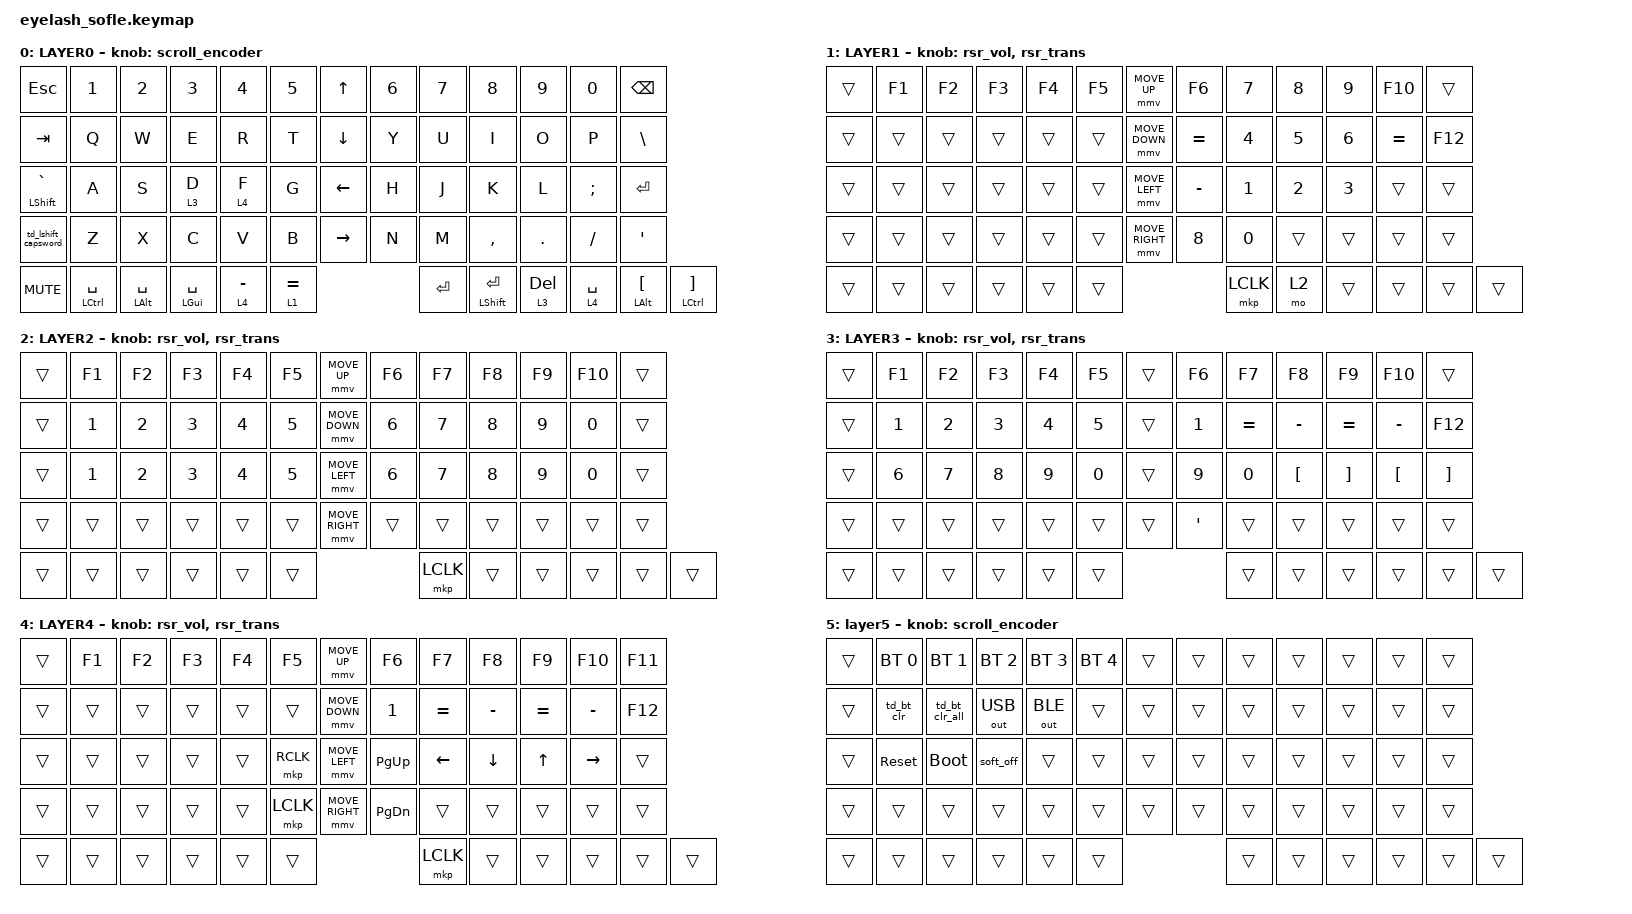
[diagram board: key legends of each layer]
#define ZMK_POINTING_DEFAULT_MOVE_VAL 1200  // 600
#define ZMK_POINTING_DEFAULT_SCRL_VAL 25   // 10

#include <input/processors.dtsi>
#include <zephyr/dt-bindings/input/input-event-codes.h>
#include <behaviors.dtsi>
#include <behaviors/runtime-sensor-rotate.dtsi>
#include <dt-bindings/zmk/bt.h>
#include <dt-bindings/zmk/keys.h>
#include <dt-bindings/zmk/outputs.h>
#include <dt-bindings/zmk/pointing.h>
#include <dt-bindings/zmk/rgb.h>

&mmv_input_listener { input-processors = <&zip_xy_scaler 2 1>; };

&msc_input_listener { input-processors = <&zip_scroll_scaler 2 1>; };

&msc {
    acceleration-exponent = <0>;      // 0
    time-to-max-speed-ms = <100>;       // 300
    delay-ms = <0>;                   // 0
};

&mmv {
    time-to-max-speed-ms = <500>;
    acceleration-exponent = <1>;
    trigger-period-ms = <16>;
};

&soft_off { hold-time-ms = <2000>; };
&sk {
    release-after-ms = <500>;
    quick-release;
    /delete-property/ ignore-modifiers;
};

/ {
    scroll_encoder: scroll_encoder {
        compatible = "zmk,behavior-sensor-rotate";
        #sensor-binding-cells = <0>;
        bindings = <&msc SCRL_DOWN>, <&msc SCRL_UP>;

        tap-ms = <100>;
    };

    behaviors {
        rsr_vol: rsr_vol {
            compatible = "zmk,behavior-runtime-sensor-rotate";
            #sensor-binding-cells = <0>;
            tap-ms = <5>;
            cw-binding = <&kp C_VOL_UP>;
            ccw-binding = <&kp C_VOL_DN>;
        };

        rsr_trans: rsr_trans {
            compatible = "zmk,behavior-runtime-sensor-rotate";
            #sensor-binding-cells = <0>;
            tap-ms = <0>;
        };
    };

    macros {
        scrl_down_hold: scrl_down_hold {
            compatible = "zmk,behavior-macro";
            #binding-cells = <0>;
            bindings
                = <&macro_press &msc SCRL_DOWN>
                , <&macro_pause_for_release>
                , <&macro_release &msc SCRL_DOWN>;
        };

        scrl_left_hold: scrl_left_hold {
            compatible = "zmk,behavior-macro";
            #binding-cells = <0>;
            bindings
                = <&macro_press &msc SCRL_LEFT>
                , <&macro_pause_for_release>
                , <&macro_release &msc SCRL_LEFT>;
        };

        scrl_right_hold: scrl_right_hold {
            compatible = "zmk,behavior-macro";
            #binding-cells = <0>;
            bindings
                = <&macro_press &msc SCRL_RIGHT>
                , <&macro_pause_for_release>
                , <&macro_release &msc SCRL_RIGHT>;
        };

        shift_semi: shift_semi {
            compatible = "zmk,behavior-macro";
            #binding-cells = <0>;
            bindings
                = <&macro_press &kp LEFT_SHIFT>
                , <&macro_tap &kp SEMI>
                , <&macro_release &kp LEFT_SHIFT>;
        };

        shift_apos: shift_apos {
            compatible = "zmk,behavior-macro";
            #binding-cells = <0>;
            bindings
                = <&macro_press &kp LEFT_SHIFT>
                , <&macro_tap &kp APOS>
                , <&macro_release &kp LEFT_SHIFT>;
        };

        shift_comma: shift_comma {
            compatible = "zmk,behavior-macro";
            #binding-cells = <0>;
            bindings
                = <&macro_press &kp LEFT_SHIFT>
                , <&macro_tap &kp COMMA>
                , <&macro_release &kp LEFT_SHIFT>;
        };

        shift_dot: shift_dot {
            compatible = "zmk,behavior-macro";
            #binding-cells = <0>;
            bindings
                = <&macro_press &kp LEFT_SHIFT>
                , <&macro_tap &kp DOT>
                , <&macro_release &kp LEFT_SHIFT>;
        };

        SHIFT_MCLK: SHIFT_MCLK {
            compatible = "zmk,behavior-macro";
            #binding-cells = <0>;
            bindings =
                <&macro_press>,
                <&kp LEFT_SHIFT>,
                <&macro_press>,
                <&mkp MB3>,
                <&macro_pause_for_release>,
                <&macro_release>,
                <&kp LEFT_SHIFT &mkp MB3>;

            label = "SHIFT_MCLK";
        };
    };
};

/ {
    behaviors {
        lt_layer_tap_df: lt_layer_tap_df {
            compatible = "zmk,behavior-hold-tap";
            #binding-cells = <2>;
            flavor = "tap-preferred";
            tapping-term-ms = <200>;
            quick-tap-ms = <0>;
            require-prior-idle-ms = <150>;
            hold-trigger-key-positions = <7 8 9 10 11 12 20 21 22 23 24 25 33 34 35 36 37 38 46 47 48 49 50 51 58 59 60 61 62 63>;
            bindings = <&mo &kp>;
        };
        lt_left_cross: lt_left_cross {
            compatible = "zmk,behavior-hold-tap";
            #binding-cells = <2>;
            flavor = "tap-preferred";
            tapping-term-ms = <200>;
            quick-tap-ms = <140>;
            require-prior-idle-ms = <150>;
            hold-trigger-key-positions = <7 8 9 10 11 12 20 21 22 23 24 25 33 34 35 36 37 38 46 47 48 49 50 51 58 59 60 61 62 63>;
            bindings = <&mo &kp>;
        };

        lt_right_cross: lt_right_cross {
            compatible = "zmk,behavior-hold-tap";
            #binding-cells = <2>;
            flavor = "tap-preferred";
            tapping-term-ms = <200>;
            quick-tap-ms = <140>;
            require-prior-idle-ms = <150>;
            hold-trigger-key-positions = <0 1 2 3 4 5 13 14 15 16 17 18 26 27 28 29 30 31 39 40 41 42 43 44 52 53 54 55 56 57>;
            bindings = <&mo &kp>;
        };

        mt_left_cross: mt_left_cross {
            compatible = "zmk,behavior-hold-tap";
            #binding-cells = <2>;
            flavor = "tap-preferred";
            tapping-term-ms = <200>;
            quick-tap-ms = <140>;
            require-prior-idle-ms = <150>;
            hold-trigger-key-positions = <7 8 9 10 11 12 20 21 22 23 24 25 33 34 35 36 37 38 46 47 48 49 50 51 58 59 60 61 62 63>;
            bindings = <&kp &kp>;
        };

        mt_right_cross: mt_right_cross {
            compatible = "zmk,behavior-hold-tap";
            #binding-cells = <2>;
            flavor = "tap-preferred";
            tapping-term-ms = <200>;
            quick-tap-ms = <140>;
            require-prior-idle-ms = <150>;
            hold-trigger-key-positions = <0 1 2 3 4 5 13 14 15 16 17 18 26 27 28 29 30 31 39 40 41 42 43 44 52 53 54 55 56 57>;
            bindings = <&kp &kp>;
        };

        td_lshift_capsword: td_lshift_capsword {
            compatible = "zmk,behavior-tap-dance";
            #binding-cells = <0>;
            tapping-term-ms = <180>;
            bindings = <&kp LEFT_SHIFT>, <&caps_word>;
        };

        td_semi_colon: td_semi_colon {
            compatible = "zmk,behavior-tap-dance";
            #binding-cells = <0>;
            tapping-term-ms = <180>;
            bindings = <&kp SEMI>, <&shift_semi>;
        };

        td_apos_dquote: td_apos_dquote {
            compatible = "zmk,behavior-tap-dance";
            #binding-cells = <0>;
            tapping-term-ms = <180>;
            bindings = <&kp APOS>, <&shift_apos>;
        };

        td_comma_lt: td_comma_lt {
            compatible = "zmk,behavior-tap-dance";
            #binding-cells = <0>;
            tapping-term-ms = <180>;
            bindings = <&kp COMMA>, <&shift_comma>;
        };

        td_dot_gt: td_dot_gt {
            compatible = "zmk,behavior-tap-dance";
            #binding-cells = <0>;
            tapping-term-ms = <180>;
            bindings = <&kp DOT>, <&shift_dot>;
        };

        td_bt_clr: td_bt_clr {
            compatible = "zmk,behavior-tap-dance";
            #binding-cells = <0>;
            tapping-term-ms = <220>;
            bindings = <&none>, <&bt BT_CLR>;
        };

        td_bt_clr_all: td_bt_clr_all {
            compatible = "zmk,behavior-tap-dance";
            #binding-cells = <0>;
            tapping-term-ms = <220>;
            bindings = <&none>, <&bt BT_CLR_ALL>;
        };
    };

    combos {
        compatible = "zmk,combos";

        softoff {
            bindings = <&soft_off>;
            key-positions = <14 28 40>;
        };
    };

    keymap {
        compatible = "zmk,keymap";

        layer0 {
            bindings = <
&kp ESC               &kp N1     &kp N2        &kp N3        &kp N4  &kp N5                                 &kp UP_ARROW     &kp N6     &kp N7     &kp N8     &kp N9           &kp N0      &kp BACKSPACE
&kp TAB               &kp Q      &kp W         &kp E         &kp R   &kp T                                  &kp DOWN_ARROW   &kp Y      &kp U      &kp I      &kp O            &kp P       &kp BSLH
&mt LEFT_SHIFT GRAVE  &kp A      &kp S         &lt_layer_tap_df 3 D  &lt_layer_tap_df 4 F   &kp G                                &kp LEFT_ARROW   &kp H      &kp J      &kp K      &kp L            &kp SEMI    &kp ENTER
&td_lshift_capsword   &kp Z      &kp X         &kp C         &kp V   &kp B                                  &kp RIGHT_ARROW  &kp N      &kp M      &kp COMMA  &kp DOT          &kp FSLH    &kp APOS
&kp C_MUTE  &mt LEFT_CONTROL SPACE  &mt LEFT_ALT SPACE      &mt LEFT_GUI SPACE  &lt 4 MINUS  &lt 1 EQUAL    &kp ENTER        &mt LEFT_SHIFT ENTER  &lt 3 DELETE  &lt 4 SPACE  &mt LEFT_ALT LEFT_BRACKET  &mt LEFT_CONTROL RIGHT_BRACKET
            >;

            sensor-bindings = <&scroll_encoder>;
            display-name = "LAYER0";
        };

        layer_1 {
            bindings = <
&trans      &kp F1     &kp F2     &kp F3     &kp F4     &kp F5      &mmv MOVE_UP    &kp F6    &kp N7     &kp N8     &kp N9     &kp F10       &trans
&trans      &trans     &trans     &trans     &trans     &trans      &mmv MOVE_DOWN  &kp EQUAL &kp N4     &kp N5     &kp N6     &kp EQUAL     &kp F12
&trans      &trans     &trans     &trans     &trans     &trans      &mmv MOVE_LEFT  &kp MINUS &kp N1     &kp N2     &kp N3     &trans        &trans
&trans      &trans     &trans     &trans     &trans     &trans      &mmv MOVE_RIGHT &kp N8    &kp N0     &trans     &trans     &trans        &trans
&trans      &trans     &trans     &trans     &trans     &trans      &mkp LCLK       &mo 2     &trans     &trans     &trans     &trans
            >;

            sensor-bindings = <&rsr_vol &rsr_trans>;
            display-name = "LAYER1";
        };

        layer_2 {
            bindings = <
&trans      &kp F1     &kp F2     &kp F3     &kp F4     &kp F5      &mmv MOVE_UP    &kp F6    &kp F7     &kp F8     &kp F9     &kp F10       &trans
&trans     &kp N1       &kp N2    &kp N3        &kp N4        &kp N5          &mmv MOVE_DOWN   &kp N6  &kp N7  &kp N8      &kp N9     &kp N0      &trans
&trans     &kp N1       &kp N2    &kp N3        &kp N4        &kp N5          &mmv MOVE_LEFT   &kp N6  &kp N7  &kp N8      &kp N9     &kp N0      &trans
&trans     &trans       &trans    &trans        &trans        &trans          &mmv MOVE_RIGHT  &trans  &trans  &trans      &trans     &trans       &trans
&trans     &trans       &trans    &trans        &trans        &trans          &mkp LCLK        &trans  &trans  &trans      &trans     &trans
            >;

            display-name = "LAYER2";
            sensor-bindings = <&rsr_vol &rsr_trans>;
        };

        layer_3 {
            bindings = <
&trans  &kp F1  &kp F2  &kp F3  &kp F4  &kp F5    &trans  &kp F6       &kp F7         &kp F8      &kp F9          &kp F10         &trans
&trans  &kp N1  &kp N2  &kp N3  &kp N4  &kp N5    &trans  &kp N1       &kp EQUAL      &kp MINUS   &kp EQUAL       &kp MINUS       &kp F12
&trans  &kp N6  &kp N7  &kp N8  &kp N9  &kp N0    &trans  &kp N9       &kp N0         &kp LEFT_BRACKET &kp RIGHT_BRACKET &kp LEFT_BRACKET  &kp RIGHT_BRACKET
&trans  &trans  &trans  &trans  &trans  &trans    &trans  &kp APOS     &trans         &trans      &trans          &trans          &trans
&trans  &trans  &trans  &trans  &trans  &trans    &trans  &trans  &trans  &trans  &trans  &trans
            >;

            display-name = "LAYER3";
            sensor-bindings = <&rsr_vol &rsr_trans>;
        };

        layer_4 {
            bindings = <
&trans  &kp F1  &kp F2  &kp F3  &kp F4  &kp F5    &mmv MOVE_UP    &kp F6      &kp F7         &kp F8        &kp F9      &kp F10   &kp F11
&trans  &trans  &trans  &trans  &trans  &trans    &mmv MOVE_DOWN  &kp N1      &kp EQUAL      &kp MINUS     &kp EQUAL       &kp MINUS       &kp F12
&trans  &trans  &trans  &trans  &trans  &mkp RCLK &mmv MOVE_LEFT  &kp PG_UP   &kp LEFT_ARROW &kp DOWN_ARROW &kp UP_ARROW &kp RIGHT_ARROW   &trans
&trans  &trans  &trans  &trans  &trans  &mkp LCLK &mmv MOVE_RIGHT  &kp PG_DN      &trans         &trans        &trans      &trans    &trans
&trans  &trans  &trans  &trans  &trans  &trans    &mkp LCLK  &trans  &trans  &trans  &trans  &trans
            >;

            display-name = "LAYER4";
            sensor-bindings = <&rsr_vol &rsr_trans>;
        };

        layer_5 {
            bindings = <
&trans  &bt BT_SEL 0  &bt BT_SEL 1    &bt BT_SEL 2  &bt BT_SEL 3  &bt BT_SEL 4    &trans  &trans     &trans     &trans     &trans     &trans       &trans
&trans  &td_bt_clr    &td_bt_clr_all  &out OUT_USB  &out OUT_BLE  &trans          &trans  &trans     &trans     &trans     &trans     &trans       &trans
&trans  &sys_reset    &bootloader     &soft_off     &trans        &trans          &trans  &trans     &trans     &trans     &trans     &trans       &trans
&trans  &trans        &trans          &trans        &trans        &trans          &trans  &trans     &trans     &trans     &trans     &trans       &trans
&trans  &trans        &trans          &trans        &trans        &trans          &trans  &trans     &trans     &trans     &trans     &trans
            >;

            display-name = "layer5";
            sensor-bindings = <&scroll_encoder>;
        };
    };
};
